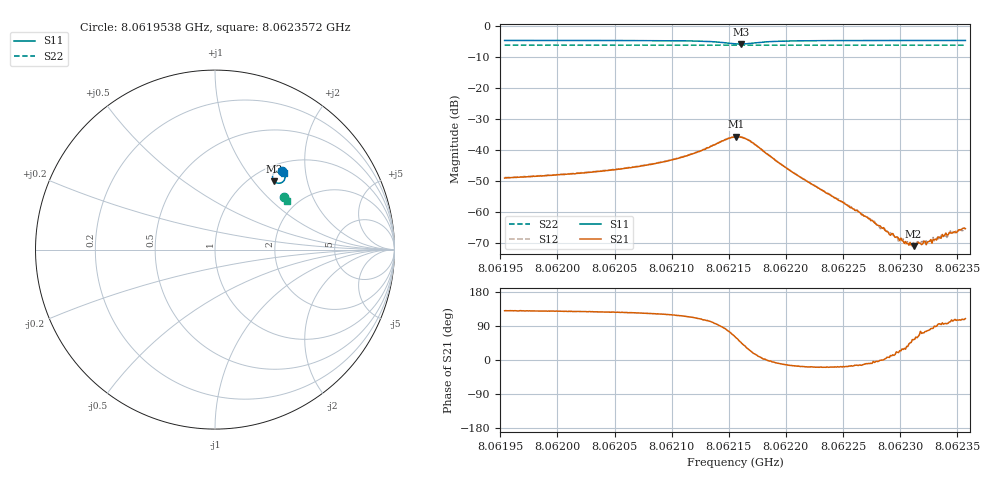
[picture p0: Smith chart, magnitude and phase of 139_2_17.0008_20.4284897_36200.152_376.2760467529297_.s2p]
#  HZ  S  RI  R  50.00
! Rohde & Schwarz Vector Network Analyzer
! Rohde-Schwarz,ZNB20-2Port,1311601062101988,3.16
! Created: UTC 3/20/2024, 10:58:16 PM
! freq[Hz]  re:S11  im:S11  re:S21  im:S21  re:S12  im:S12  re:S22  im:S22
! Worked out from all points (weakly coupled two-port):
!   401 points, 8.0619538 GHz to 8.0623572 GHz, reference 50 ohm
!   highest |S21| = -35.81 dB at 8.0621565 GHz (marker M1); lowest = -71.0 dB at 8.0623118 GHz (marker M2)
!   lowest |S11| = -6.0 dB at 8.0621605 GHz (marker M3), VSWR 3.03, Z = 63.1 + j64.2 ohm
!   |S11| at or under -10 dB: nowhere
!   |S22| runs from -6.4 to -6.3 dB; largest |S21 - S12| = 0.0013
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8.06195377e9  0.3734 0.4384  -0.00225 0.00269  -0.00212 0.00285  0.3866 0.2913
8.06202134e9  0.3792 0.4325  -0.0026 0.00333  -0.00247 0.00353  0.3888 0.2877
8.06208891e9  0.3872 0.421  -0.00323 0.00529  -0.00296 0.00554  0.3912 0.2842
8.06211714e9  0.3907 0.4084  -0.00332 0.00781  -0.00288 0.00809  0.3922 0.2824
8.06214034e9  0.3835 0.3834  -0.00069 0.0127  2.61e-07 0.0129  0.3921 0.2803
8.06215546e9  0.3471 0.3709  0.00772 0.0142  0.00866 0.0137  0.3907 0.2797
8.06215647e9  0.3436 0.3718  0.00853 0.0138  0.00942 0.0134  0.3907 0.2797
8.06216051e9  0.3311 0.3796  0.0109 0.0117  0.0119 0.011  0.3903 0.28
8.06216958e9  0.3208 0.4078  0.0123 0.00511  0.0129 0.00449  0.3906 0.2809
8.06219983e9  0.3516 0.4396  0.00505 -0.0011  0.00502 -0.00143  0.3935 0.2804
8.06222303e9  0.364 0.439  0.00263 -0.000866  0.00259 -0.00106  0.3947 0.2792
8.06226337e9  0.374 0.4353  0.000978 -0.000255  0.000977 -0.000284  0.3964 0.277
8.0622906e9  0.3779 0.433  0.00043 5.11e-05  0.000482 2.28e-05  0.3973 0.2754
8.06229765e9  0.3788 0.4324  0.000371 0.000137  0.000369 0.000103  0.3976 0.2752
8.06230169e9  0.3793 0.4321  0.000301 0.000168  0.000326 0.000157  0.3977 0.2752
8.06230572e9  0.3799 0.4318  0.000251 0.000181  0.000267 0.000161  0.3978 0.2749
8.06231177e9  0.3804 0.4312  0.000166 0.000226  0.000204 0.000248  0.3979 0.2745
8.06232589e9  0.3819 0.4303  6.09e-05 0.000332  5.45e-05 0.000336  0.3985 0.2737
8.06233698e9  0.383 0.4297  -6.12e-05 0.000429  -2.79e-05 0.00041  0.399 0.2732
8.06234102e9  0.3833 0.4293  -4.35e-05 0.00042  -2.92e-05 0.000386  0.3991 0.2729
8.06234505e9  0.3836 0.4291  -0.000122 0.000439  -4.89e-05 0.000445  0.3991 0.2728
8.06235715e9  0.3847 0.4283  -0.000177 0.000508  -0.000106 0.000517  0.3995 0.2722
